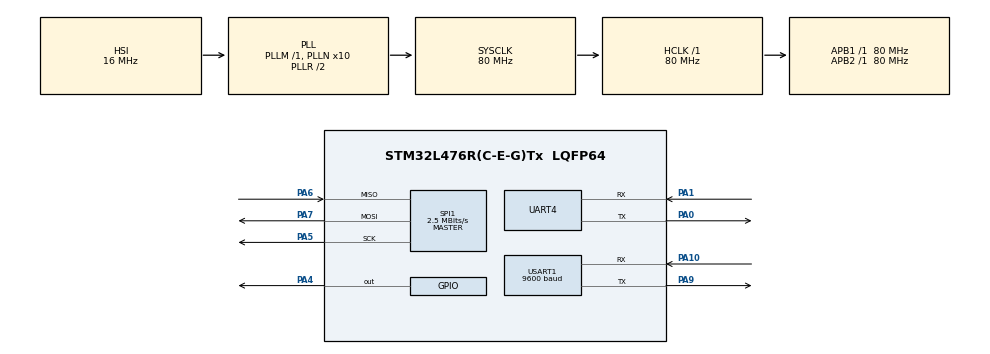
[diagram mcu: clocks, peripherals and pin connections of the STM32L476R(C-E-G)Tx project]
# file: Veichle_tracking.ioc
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Mcu.Family=STM32L4
Mcu.Name=STM32L476R(C-E-G)Tx
Mcu.Package=LQFP64
NVIC.PriorityGroup=NVIC_PRIORITYGROUP_4
NVIC.UART4_IRQn=true\:0\:0\:false\:false\:true\:true\:true\:true
NVIC.USART1_IRQn=true\:0\:0\:false\:false\:true\:true\:true\:true
PA0.Mode=Asynchronous
PA0.Signal=UART4_TX
PA1.Mode=Asynchronous
PA1.Signal=UART4_RX
PA10.Mode=Asynchronous
PA10.Signal=USART1_RX
PA13\ (JTMS-SWDIO).Mode=Serial_Wire
PA13\ (JTMS-SWDIO).Signal=SYS_JTMS-SWDIO
PA14\ (JTCK-SWCLK).Mode=Serial_Wire
PA14\ (JTCK-SWCLK).Signal=SYS_JTCK-SWCLK
PA4.GPIO_Speed=GPIO_SPEED_FREQ_VERY_HIGH
PA4.PinState=GPIO_PIN_SET
PA4.Signal=GPIO_Output
PA5.Mode=Full_Duplex_Master
PA5.Signal=SPI1_SCK
PA6.Mode=Full_Duplex_Master
PA6.Signal=SPI1_MISO
PA7.Mode=Full_Duplex_Master
PA7.Signal=SPI1_MOSI
PA9.Mode=Asynchronous
PA9.Signal=USART1_TX
ProjectManager.HeapSize=0x200
ProjectManager.StackSize=0x400
ProjectManager.TargetToolchain=STM32CubeIDE
RCC.ADCFreq_Value=64000000
RCC.AHBFreq_Value=80000000
RCC.APB1Freq_Value=80000000
RCC.APB1TimFreq_Value=80000000
RCC.APB2Freq_Value=80000000
RCC.APB2TimFreq_Value=80000000
RCC.CortexFreq_Value=80000000
RCC.HCLKFreq_Value=80000000
RCC.HSE_VALUE=8000000
RCC.HSI_VALUE=16000000
RCC.LSE_VALUE=32768
RCC.MSI_VALUE=4000000
RCC.PLLN=10
RCC.PLLSourceVirtual=RCC_PLLSOURCE_HSI
RCC.PREFETCH_ENABLE=1
RCC.SYSCLKFreq_VALUE=80000000
RCC.SYSCLKSource=RCC_SYSCLKSOURCE_PLLCLK
RCC.USBFreq_Value=64000000
RCC.VCOOutputFreq_Value=160000000
SPI1.BaudRatePrescaler=SPI_BAUDRATEPRESCALER_32
SPI1.CalculateBaudRate=2.5 MBits/s
SPI1.DataSize=SPI_DATASIZE_8BIT
SPI1.Direction=SPI_DIRECTION_2LINES
SPI1.Mode=SPI_MODE_MASTER
SPI1.VirtualType=VM_MASTER
USART1.BaudRate=9600
USART1.VirtualMode-Asynchronous=VM_ASYNC
board=NUCLEO-L476RG

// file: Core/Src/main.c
/* USER CODE BEGIN Header */
/**
  ******************************************************************************
  * @file           : main.c
  * @brief          : Main program body
  ******************************************************************************
  * @attention
  *
  * Copyright (c) 2024 STMicroelectronics.
  * All rights reserved.
  *
  * This software is licensed under terms that can be found in the LICENSE file
  * in the root directory of this software component.
  * If no LICENSE file comes with this software, it is provided AS-IS.
  *
  ******************************************************************************
  */
/* USER CODE END Header */
#include "main.h"

/* USER CODE BEGIN Includes */
#include "gps.h"
#include "gsm.h"
//#include "internal_flash.h"
#include "stdio.h"
#include "string.h"
#include "W25Qxx.h"

#define JSON_SIZE 256
#define NMEA_SIZE 750
//#define FLASH_START_ADDRESS 0x08080000

int _write(int file,char *ptr,int len)

{

    int i=0;

    for(i=0;i<len;i++)

      ITM_SendChar((*ptr++));

    return len;

}

/* Private includes ----------------------------------------------------------*/
/* USER CODE BEGIN Includes */

/* USER CODE END Includes */

SPI_HandleTypeDef hspi1;

UART_HandleTypeDef huart4;
UART_HandleTypeDef huart1;

/* USER CODE BEGIN PV */

uint8_t ID = 0;

/* USER CODE END PV */

void SystemClock_Config(void);
static void MX_GPIO_Init(void);
static void MX_SPI1_Init(void);
static void MX_UART4_Init(void);
static void MX_USART1_UART_Init(void);

/* USER CODE BEGIN 0 */
extern char json_str[JSON_SIZE];
extern char buf_to_extract[NMEA_SIZE];
extern char RxBuffer[NMEA_SIZE];
//extern char readData[100];

uint32_t No_Of_Locations=0;
uint8_t Read_From_Flash[8000];
int ret=1;
/* USER CODE END 0 */

int main(void)
{

  /* MCU Configuration--------------------------------------------------------*/

  /* Reset of all peripherals, Initializes the Flash interface and the Systick. */
  HAL_Init();

  /* Configure the system clock */
  SystemClock_Config();

  /* Initialize all configured peripherals */
  MX_GPIO_Init();
  MX_SPI1_Init();
  MX_UART4_Init();
  MX_USART1_UART_Init();
  /* USER CODE BEGIN 2 */

  ID=W25Q_ReadID();

int x=2;
//W25Q_Erase_Sector(0);

  /* USER CODE END 2 */

  /* Infinite loop */
  while (1)
  {

    /* USER CODE BEGIN 3 */
	  //if(DATA_SEND_READY()!=0)
	  if(x==1)
	   {
		  if(No_Of_Locations!=0)
		  {
			  //Read_From_Flash=(uint8_t *)malloc(No_Of_Locations*86);

			  if(Read_From_Flash==NULL)
			  {
				  printf("Failed to allocate memory");
			  }
			  else
			  {
				  W25Q_Read(0, 0, No_Of_Locations*86, Read_From_Flash);
				  ret=GSM_Send_Data(Read_From_Flash);
				  if(ret==0)
				  {
					  printf("Stored locations are sent to server successfully\n");
					  No_Of_Locations=0;
					  //W25Q_Erase_Sector(0);
				  }
				  else
				  {

				  }
			  }
		  }

	  	  	 		while(1)
	  	  	 		{
	  	  	 			if(HAL_UART_Receive_IT(&huart1, (char *)RxBuffer, 750)==HAL_OK)
	  	  	 			{
	  	  	 			printf("Received NMEA %s\n",RxBuffer);
	  	  	 			strcpy(buf_to_extract,RxBuffer);
	  	  	 			memset(RxBuffer,0,750);
	  	  	 			get_data_from_gps(buf_to_extract);
	  	  	 			//memset(buf_to_extract,0,750);

	  	  	 		 if(*json_str)
	  	  	 		 {
	  	  	 			 printf("GPS Recieved %s \n",json_str);
	  	  	 			if(GSM_Send_Data((uint8_t *)json_str)==0)
	  	  	 			{
	  	  	 			printf("Sending worked \n");

	  	  	 			}
	  	  	 			else
	  	  	 			{
	  		  	 			printf("Sending  not worked \n");

	  	  	 			}
	  	  	 		 }
	  	  	 		 else
	  	  	 		 {
	  	  	 			 printf("GPS Received No DATA\n");
	  	  	 			 //
	  	  	 		 }
	  	  	 		 memset(json_str,0,256);
	  	  	 		 memset(json_str,0,256);

	  	  	 		}
	  	  	 		}
	  	  	 }
	  	  	 else
	  	  	 {
	  	  		 printf("GSM Init Failed in Main\n Storing in Flash \n");

	  	  		while(1)
	  	  		{
	  	  			if(HAL_UART_Receive_IT(&huart1, (char *)RxBuffer, 750)==HAL_OK)
	  	  			{

	  	  				printf("Received NMEA %s\n",RxBuffer);
	  	  			  	strcpy(buf_to_extract,RxBuffer);
	  	  			  	memset(RxBuffer,0,750);
	  	  			  	get_data_from_gps(buf_to_extract);
	  	  			  	 //memset(buf_to_extract,0,750);

	  	  			  	  //if(*json_str)
	  	  			  	if(x==2)
	  	  			  	  {
	  	  			  	  	 printf("GPS Recieved %s \n",json_str);
	  	  			  	  	 printf(" json string length %d",strlen(json_str));
	  	  			  	  	// W25Q_Write(page, offset, size, data);
	  	  			  	  	 char str[100] = "latitude: 17.889933 N, longitude:18.112233 E, time: 17:01:02,date: 08/02/24";

		  	Write_Again:      ret =Storing_GPS_Data_Into_Flash((uint8_t *)str);

	  	  			  	  	if(ret==0)
	  	  			  	  	{
	  	  			  	  		No_Of_Locations++;
	  	  			  	  		printf("Latest Location stored in Flash \n No of Locations Stored into the Flash are : %d\n",No_Of_Locations);
	  	  			  	  		//HAL_Delay(5000);
	  	  			  	  		//Read_From_Flash=malloc(No_Of_Locations*13);
	  	  			  	  W25Q_Read(0, 0, 400, Read_From_Flash);
	  	  			  	  HAL_Delay(500);

	  	  			  	 printf("Stored Data is %s \n",Read_From_Flash);

	  	  			  	  		break;
	  	  			  	  	}
	  	  			  	  	else
	  	  			  	  	{
	  	  			  	  		printf("Storing Failed \n");
	  	  			  	  		goto Write_Again;
	  	  			  	  	}

	  	  			  	  }
	  	  			  	  else
	  	  			  	  {
	  	  			  	  	  printf("GPS Received No DATA\n");

	  	  			  	  }
	  	  			  	  	memset(json_str,0,256);
	  	  			  	  // memset(json_str,0,256);
	  	  			}
	  	  		}

	  	  	 }
	  }

  }

  /* USER CODE END 3 */

void SystemClock_Config(void)
{
  RCC_OscInitTypeDef RCC_OscInitStruct = {0};
  RCC_ClkInitTypeDef RCC_ClkInitStruct = {0};

  /** Configure the main internal regulator output voltage
  */
  if (HAL_PWREx_ControlVoltageScaling(PWR_REGULATOR_VOLTAGE_SCALE1) != HAL_OK)
  {
    Error_Handler();
  }

  /** Initializes the RCC Oscillators according to the specified parameters
  * in the RCC_OscInitTypeDef structure.
  */
  RCC_OscInitStruct.OscillatorType = RCC_OSCILLATORTYPE_HSI;
  RCC_OscInitStruct.HSIState = RCC_HSI_ON;
  RCC_OscInitStruct.HSICalibrationValue = RCC_HSICALIBRATION_DEFAULT;
  RCC_OscInitStruct.PLL.PLLState = RCC_PLL_ON;
  RCC_OscInitStruct.PLL.PLLSource = RCC_PLLSOURCE_HSI;
  RCC_OscInitStruct.PLL.PLLM = 1;
  RCC_OscInitStruct.PLL.PLLN = 10;
  RCC_OscInitStruct.PLL.PLLP = RCC_PLLP_DIV7;
  RCC_OscInitStruct.PLL.PLLQ = RCC_PLLQ_DIV2;
  RCC_OscInitStruct.PLL.PLLR = RCC_PLLR_DIV2;
  if (HAL_RCC_OscConfig(&RCC_OscInitStruct) != HAL_OK)
  {
    Error_Handler();
  }

  /** Initializes the CPU, AHB and APB buses clocks
  */
  RCC_ClkInitStruct.ClockType = RCC_CLOCKTYPE_HCLK|RCC_CLOCKTYPE_SYSCLK
                              |RCC_CLOCKTYPE_PCLK1|RCC_CLOCKTYPE_PCLK2;
  RCC_ClkInitStruct.SYSCLKSource = RCC_SYSCLKSOURCE_PLLCLK;
  RCC_ClkInitStruct.AHBCLKDivider = RCC_SYSCLK_DIV1;
  RCC_ClkInitStruct.APB1CLKDivider = RCC_HCLK_DIV1;
  RCC_ClkInitStruct.APB2CLKDivider = RCC_HCLK_DIV1;

  if (HAL_RCC_ClockConfig(&RCC_ClkInitStruct, FLASH_LATENCY_4) != HAL_OK)
  {
    Error_Handler();
  }
}

static void MX_SPI1_Init(void)
{

  /* SPI1 parameter configuration*/
  hspi1.Instance = SPI1;
  hspi1.Init.Mode = SPI_MODE_MASTER;
  hspi1.Init.Direction = SPI_DIRECTION_2LINES;
  hspi1.Init.DataSize = SPI_DATASIZE_8BIT;
  hspi1.Init.CLKPolarity = SPI_POLARITY_LOW;
  hspi1.Init.CLKPhase = SPI_PHASE_1EDGE;
  hspi1.Init.NSS = SPI_NSS_SOFT;
  hspi1.Init.BaudRatePrescaler = SPI_BAUDRATEPRESCALER_32;
  hspi1.Init.FirstBit = SPI_FIRSTBIT_MSB;
  hspi1.Init.TIMode = SPI_TIMODE_DISABLE;
  hspi1.Init.CRCCalculation = SPI_CRCCALCULATION_DISABLE;
  hspi1.Init.CRCPolynomial = 7;
  hspi1.Init.CRCLength = SPI_CRC_LENGTH_DATASIZE;
  hspi1.Init.NSSPMode = SPI_NSS_PULSE_ENABLE;
  if (HAL_SPI_Init(&hspi1) != HAL_OK)
  {
    Error_Handler();
  }

}

static void MX_UART4_Init(void)
{

  huart4.Instance = UART4;
  huart4.Init.BaudRate = 115200;
  huart4.Init.WordLength = UART_WORDLENGTH_8B;
  huart4.Init.StopBits = UART_STOPBITS_1;
  huart4.Init.Parity = UART_PARITY_NONE;
  huart4.Init.Mode = UART_MODE_TX_RX;
  huart4.Init.HwFlowCtl = UART_HWCONTROL_NONE;
  huart4.Init.OverSampling = UART_OVERSAMPLING_16;
  huart4.Init.OneBitSampling = UART_ONE_BIT_SAMPLE_DISABLE;
  huart4.AdvancedInit.AdvFeatureInit = UART_ADVFEATURE_NO_INIT;
  if (HAL_UART_Init(&huart4) != HAL_OK)
  {
    Error_Handler();
  }

}

static void MX_USART1_UART_Init(void)
{

  huart1.Instance = USART1;
  huart1.Init.BaudRate = 9600;
  huart1.Init.WordLength = UART_WORDLENGTH_8B;
  huart1.Init.StopBits = UART_STOPBITS_1;
  huart1.Init.Parity = UART_PARITY_NONE;
  huart1.Init.Mode = UART_MODE_TX_RX;
  huart1.Init.HwFlowCtl = UART_HWCONTROL_NONE;
  huart1.Init.OverSampling = UART_OVERSAMPLING_16;
  huart1.Init.OneBitSampling = UART_ONE_BIT_SAMPLE_DISABLE;
  huart1.AdvancedInit.AdvFeatureInit = UART_ADVFEATURE_NO_INIT;
  if (HAL_UART_Init(&huart1) != HAL_OK)
  {
    Error_Handler();
  }

}

static void MX_GPIO_Init(void)
{
  GPIO_InitTypeDef GPIO_InitStruct = {0};

  /* GPIO Ports Clock Enable */
  __HAL_RCC_GPIOA_CLK_ENABLE();

  /*Configure GPIO pin Output Level */
  HAL_GPIO_WritePin(GPIOA, GPIO_PIN_4, GPIO_PIN_SET);

  /*Configure GPIO pin : PA4 */
  GPIO_InitStruct.Pin = GPIO_PIN_4;
  GPIO_InitStruct.Mode = GPIO_MODE_OUTPUT_PP;
  GPIO_InitStruct.Pull = GPIO_NOPULL;
  GPIO_InitStruct.Speed = GPIO_SPEED_FREQ_VERY_HIGH;
  HAL_GPIO_Init(GPIOA, &GPIO_InitStruct);

}

void Error_Handler(void)
{
  __disable_irq();
  while (1)
  {
  }
}
